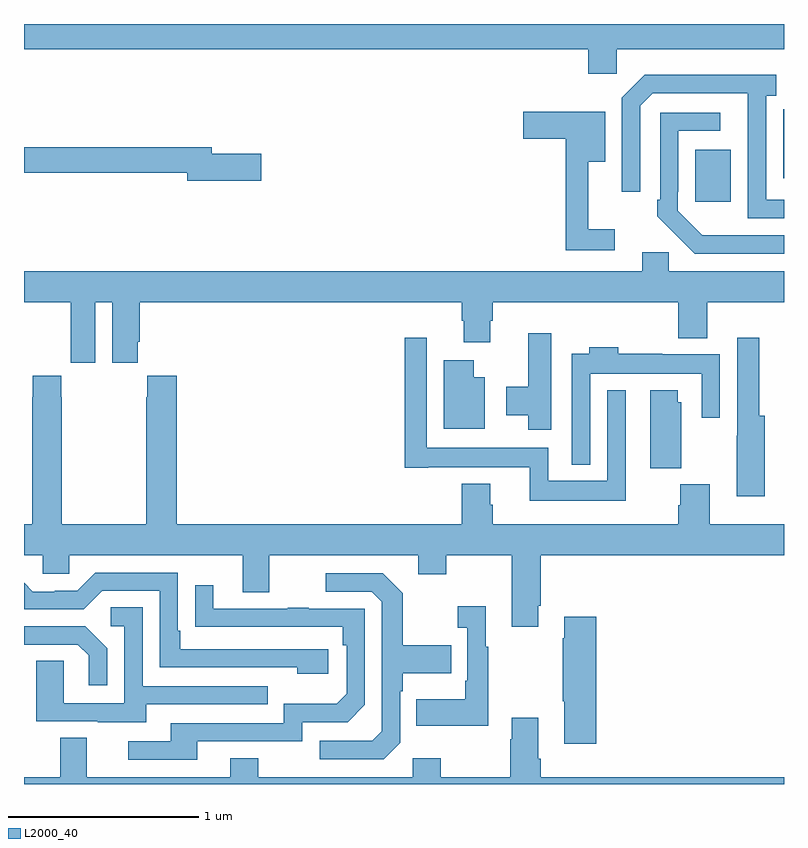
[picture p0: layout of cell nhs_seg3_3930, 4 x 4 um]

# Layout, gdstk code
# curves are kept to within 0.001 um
import gdstk
lib = gdstk.Library(unit=1e-6, precision=1e-09)
def R(c, l, rs):  # rectangles x0, y0, x1, y1
    for r in rs: c.add(gdstk.rectangle(r[:2], r[2:], *l))
def P(c, l, *ps):  # polygons
    for p in ps: c.add(gdstk.Polygon(p, *l))
L2000_40 = (2000, 40)

nhs_seg3_3930 = lib.new_cell('nhs_seg3_3930')
R(nhs_seg3_3930, L2000_40, [(318.533,681.465,318.721,681.739)])
P(nhs_seg3_3930, L2000_40, [(318.12,682.268),(319,682.268),(319,682.4),(315,682.4),(315,682.268),(317.969,682.268),(317.969,682.137),(318.12,682.137)],
  [(319,681.474),(318.906,681.474),(318.906,682.022),(318.958,682.022),(318.958,682.132),(318.268,682.132),(318.147,682.011),(318.147,681.516),(318.243,681.516),(318.243,681.969),(318.309,682.035),(318.809,682.035),(318.81,681.378),(319,681.378)],
  [(319,681.951),(318.997,681.951),(318.997,681.842),(318.996,681.842),(318.996,681.588),(319,681.588)],
  [(318.109,681.319),(317.969,681.319),(317.969,681.674),(318.058,681.674),(318.058,681.939),(317.628,681.939),(317.628,681.797),(317.851,681.797),(317.851,681.21),(318.109,681.21)],
  [(319,681.288),(318.57,681.289),(318.441,681.417),(318.441,681.517),(318.444,681.517),(318.444,681.837),(318.664,681.837),(318.664,681.933),(318.348,681.933),(318.348,681.475),(318.333,681.475),(318.333,681.387),(318.438,681.282),(318.439,681.283),(318.53,681.192),(319,681.192)],
  [(316.249,681.716),(315.988,681.716),(315.988,681.752),(315,681.752),(315,681.616),(315.86,681.616),(315.86,681.574),(316.249,681.574)],
  [(318.443,680.747),(318.595,680.747),(318.595,680.936),(319,680.936),(319,681.1),(318.393,681.1),(318.393,681.198),(318.254,681.198),(318.254,681.1),(315,681.1),(315,680.936),(315.245,680.936),(315.245,680.728),(315.246,680.728),(315.246,680.616),(315.376,680.616),(315.376,680.936),(315.464,680.936),(315.464,680.616),(315.598,680.616),(315.598,680.728),(315.608,680.728),(315.608,680.936),(317.303,680.936),(317.303,680.838),(317.315,680.838),(317.315,680.724),(317.455,680.724),(317.455,680.838),(317.468,680.838),(317.468,680.936),(318.443,680.936)],
  [(317.776,680.773),(317.654,680.773),(317.654,680.49),(317.537,680.49),(317.537,680.342),(317.654,680.342),(317.654,680.265),(317.776,680.265)],
  [(318.166,680.473),(318.069,680.473),(318.069,679.996),(317.76,679.996),(317.76,680.17),(317.121,680.17),(317.121,680.749),(317.005,680.749),(317.005,680.064),(317.128,680.064),(317.128,680.066),(317.663,680.066),(317.663,679.892),(318.166,679.892)],
  [(318.899,680.338),(318.869,680.338),(318.869,680.749),(318.753,680.749),(318.753,680.234),(318.752,680.234),(318.752,679.914),(318.899,679.914)],
  [(317.979,680.558),(318.567,680.558),(318.567,680.328),(318.663,680.328),(318.663,680.662),(318.359,680.662),(318.359,680.665),(318.128,680.665),(318.128,680.698),(317.975,680.698),(317.975,680.665),(317.883,680.665),(317.883,680.081),(317.979,680.081)],
  [(317.425,680.542),(317.368,680.542),(317.368,680.629),(317.21,680.629),(317.21,680.27),(317.425,680.27)],
  [(317.707,679.339),(317.72,679.339),(317.72,679.604),(319,679.604),(319,679.768),(318.608,679.768),(318.608,679.977),(318.455,679.977),(318.455,679.868),(318.443,679.868),(318.443,679.768),(317.468,679.768),(317.468,679.869),(317.455,679.869),(317.455,679.981),(317.303,679.981),(317.303,679.768),(315.803,679.768),(315.803,680.548),(315.649,680.548),(315.649,680.435),(315.643,680.435),(315.643,679.768),(315.198,679.768),(315.198,680.435),(315.195,680.435),(315.195,680.548),(315.045,680.548),(315.045,680.435),(315.043,680.435),(315.043,679.768),(315,679.768),(315,679.604),(315.099,679.604),(315.099,679.506),(315.237,679.506),(315.237,679.604),(316.151,679.604),(316.151,679.41),(316.291,679.41),(316.291,679.604),(317.075,679.604),(317.075,679.505),(317.223,679.505),(317.223,679.604),(317.567,679.604),(317.567,679.227),(317.707,679.227)],
  [(318.46,680.409),(318.442,680.409),(318.442,680.473),(318.296,680.473),(318.296,680.062),(318.46,680.062)],
  [(316.6,679.11),(315.823,679.11),(315.823,679.207),(315.81,679.207),(315.81,679.512),(315.375,679.512),(315.279,679.416),(315.161,679.416),(315.161,679.413),(315.045,679.413),(315,679.458),(315,679.32),(315.315,679.32),(315.411,679.416),(315.714,679.416),(315.714,679.014),(316.439,679.014),(316.439,678.98),(316.6,678.98)],
  [(316.98,678.618),(316.98,678.887),(316.993,678.887),(316.993,678.983),(317.249,678.983),(317.249,679.131),(316.993,679.131),(316.993,679.403),(316.887,679.509),(316.587,679.509),(316.587,679.413),(316.83,679.413),(316.884,679.359),(316.884,678.678),(316.833,678.627),(316.557,678.627),(316.557,678.531),(316.893,678.531)],
  [(315.913,678.624),(316.464,678.624),(316.464,678.726),(316.704,678.726),(316.794,678.816),(316.794,679.323),(316.499,679.323),(316.499,679.328),(316.387,679.328),(316.387,679.323),(315.997,679.323),(315.997,679.447),(315.901,679.447),(315.901,679.228),(316.678,679.227),(316.678,679.13),(316.698,679.13),(316.698,678.876),(316.645,678.823),(316.368,678.823),(316.368,678.72),(315.773,678.72),(315.773,678.624),(315.549,678.624),(315.549,678.528),(315.913,678.528)],
  [(317.443,679.123),(317.431,679.123),(317.431,679.336),(317.283,679.336),(317.283,679.223),(317.334,679.223),(317.334,678.943),(317.322,678.943),(317.322,678.847),(317.065,678.847),(317.065,678.707),(317.443,678.707)],
  [(315.643,678.819),(316.283,678.819),(316.283,678.915),(315.624,678.915),(315.624,679.331),(315.456,679.331),(315.456,679.23),(315.528,679.23),(315.528,678.825),(315.21,678.825),(315.21,679.049),(315.065,679.049),(315.065,678.729),(315.389,678.729),(315.389,678.725),(315.643,678.725)],
  [(318.011,679.279),(317.843,679.279),(317.843,679.166),(317.836,679.166),(317.836,678.835),(317.843,678.835),(317.843,678.612),(318.011,678.612)],
  [(315.438,679.114),(315.322,679.23),(315,679.23),(315,679.134),(315.284,679.134),(315.341,679.077),(315.341,678.921),(315.438,678.921)],
  [(319,678.436),(317.72,678.436),(317.72,678.532),(317.707,678.532),(317.707,678.748),(317.567,678.748),(317.567,678.635),(317.56,678.635),(317.56,678.436),(317.193,678.436),(317.193,678.535),(317.046,678.535),(317.046,678.436),(316.233,678.436),(316.233,678.535),(316.085,678.535),(316.085,678.436),(315.331,678.436),(315.331,678.644),(315.191,678.644),(315.191,678.436),(315,678.436),(315,678.4),(319,678.4)])

lib.write_gds('nhs_seg3_3930.gds')
